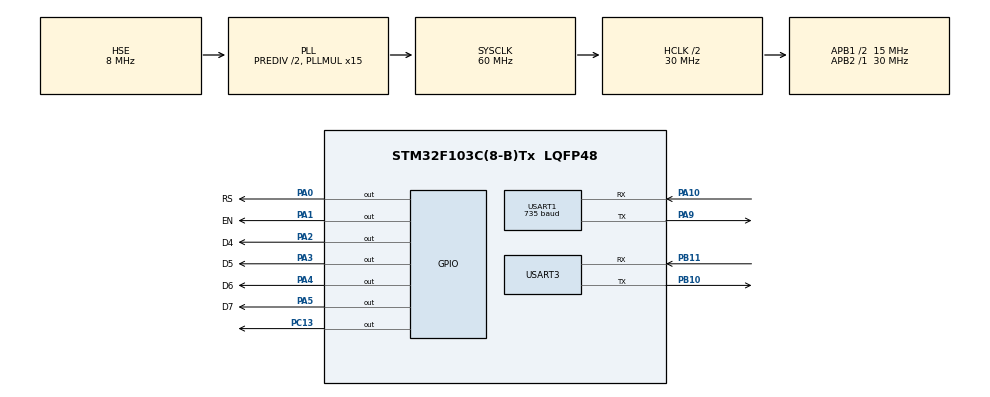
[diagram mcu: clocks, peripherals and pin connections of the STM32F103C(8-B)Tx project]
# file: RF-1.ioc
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Dma.Request0=USART1_RX
Dma.USART1_RX.0.Direction=DMA_PERIPH_TO_MEMORY
Dma.USART1_RX.0.Instance=DMA1_Channel5
Dma.USART1_RX.0.MemDataAlignment=DMA_MDATAALIGN_BYTE
Dma.USART1_RX.0.MemInc=DMA_MINC_ENABLE
Dma.USART1_RX.0.Mode=DMA_CIRCULAR
Dma.USART1_RX.0.PeriphDataAlignment=DMA_PDATAALIGN_BYTE
Dma.USART1_RX.0.PeriphInc=DMA_PINC_DISABLE
Dma.USART1_RX.0.Priority=DMA_PRIORITY_HIGH
FREERTOS.Tasks01=defaultTask,0,128,StartDefaultTask,Default,NULL,Dynamic,NULL,NULL;Task1,2,128,StartTask02,Default,NULL,Dynamic,NULL,NULL;Task2,1,128,StartTask03,Default,NULL,Dynamic,NULL,NULL
Mcu.Family=STM32F1
Mcu.Name=STM32F103C(8-B)Tx
Mcu.Package=LQFP48
NVIC.DMA1_Channel5_IRQn=true\:5\:0\:false\:false\:true\:true\:false
NVIC.PriorityGroup=NVIC_PRIORITYGROUP_4
NVIC.TIM4_IRQn=true\:0\:0\:false\:false\:true\:false\:false
NVIC.TimeBase=TIM4_IRQn
NVIC.TimeBaseIP=TIM4
PA0-WKUP.GPIO_Label=RS
PA0-WKUP.GPIO_Speed=GPIO_SPEED_FREQ_MEDIUM
PA0-WKUP.Signal=GPIO_Output
PA1.GPIO_Label=EN
PA1.GPIO_Speed=GPIO_SPEED_FREQ_MEDIUM
PA1.Signal=GPIO_Output
PA10.Mode=Asynchronous
PA10.Signal=USART1_RX
PA13.Mode=Serial_Wire
PA13.Signal=SYS_JTMS-SWDIO
PA14.Mode=Serial_Wire
PA14.Signal=SYS_JTCK-SWCLK
PA2.GPIO_Label=D4
PA2.GPIO_Speed=GPIO_SPEED_FREQ_MEDIUM
PA2.Signal=GPIO_Output
PA3.GPIO_Label=D5
PA3.GPIO_Speed=GPIO_SPEED_FREQ_MEDIUM
PA3.Signal=GPIO_Output
PA4.GPIO_Label=D6
PA4.GPIO_Speed=GPIO_SPEED_FREQ_MEDIUM
PA4.Signal=GPIO_Output
PA5.GPIO_Label=D7
PA5.GPIO_Speed=GPIO_SPEED_FREQ_MEDIUM
PA5.Signal=GPIO_Output
PA9.Mode=Asynchronous
PA9.Signal=USART1_TX
PB10.Mode=Asynchronous
PB10.Signal=USART3_TX
PB11.Mode=Asynchronous
PB11.Signal=USART3_RX
PC13-TAMPER-RTC.GPIO_Speed=GPIO_SPEED_FREQ_LOW
PC13-TAMPER-RTC.Signal=GPIO_Output
PD0-OSC_IN.Mode=HSE-External-Oscillator
PD0-OSC_IN.Signal=RCC_OSC_IN
PD1-OSC_OUT.Mode=HSE-External-Oscillator
PD1-OSC_OUT.Signal=RCC_OSC_OUT
ProjectManager.HeapSize=0x200
ProjectManager.StackSize=0x400
ProjectManager.TargetToolchain=MDK-ARM V5
RCC.AHBCLKDivider=RCC_SYSCLK_DIV2
RCC.AHBFreq_Value=30000000
RCC.APB1CLKDivider=RCC_HCLK_DIV2
RCC.APB1Freq_Value=15000000
RCC.APB1TimFreq_Value=30000000
RCC.APB2Freq_Value=30000000
RCC.APB2TimFreq_Value=30000000
RCC.HCLKFreq_Value=30000000
RCC.HSEDivPLL=RCC_HSE_PREDIV_DIV2
RCC.PLLMUL=RCC_PLL_MUL15
RCC.PLLSourceVirtual=RCC_PLLSOURCE_HSE
RCC.SYSCLKFreq_VALUE=60000000
RCC.SYSCLKSource=RCC_SYSCLKSOURCE_PLLCLK
RCC.USBFreq_Value=60000000
USART1.BaudRate=735
USART1.VirtualMode=VM_ASYNC
USART3.VirtualMode=VM_ASYNC
VP_FREERTOS_VS_ENABLE.Mode=Enabled
VP_SYS_VS_tim4.Mode=TIM4
board=custom

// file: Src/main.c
/**
  ******************************************************************************
  * @file           : main.c
  * @brief          : Main program body
  ******************************************************************************
  * This notice applies to any and all portions of this file
  * that are not between comment pairs USER CODE BEGIN and
  * USER CODE END. Other portions of this file, whether
  * inserted by the user or by software development tools
  * are owned by their respective copyright owners.
  *
  * Copyright (c) 2019 STMicroelectronics International N.V.
  * All rights reserved.
  *
  * Redistribution and use in source and binary forms, with or without
  * modification, are permitted, provided that the following conditions are met:
  *
  * 1. Redistribution of source code must retain the above copyright notice,
  *    this list of conditions and the following disclaimer.
  * 2. Redistributions in binary form must reproduce the above copyright notice,
  *    this list of conditions and the following disclaimer in the documentation
  *    and/or other materials provided with the distribution.
  * 3. Neither the name of STMicroelectronics nor the names of other
  *    contributors to this software may be used to endorse or promote products
  *    derived from this software without specific written permission.
  * 4. This software, including modifications and/or derivative works of this
  *    software, must execute solely and exclusively on microcontroller or
  *    microprocessor devices manufactured by or for STMicroelectronics.
  * 5. Redistribution and use of this software other than as permitted under
  *    this license is void and will automatically terminate your rights under
  *    this license.
  *
  * THIS SOFTWARE IS PROVIDED BY STMICROELECTRONICS AND CONTRIBUTORS "AS IS"
  * AND ANY EXPRESS, IMPLIED OR STATUTORY WARRANTIES, INCLUDING, BUT NOT
  * LIMITED TO, THE IMPLIED WARRANTIES OF MERCHANTABILITY, FITNESS FOR A
  * PARTICULAR PURPOSE AND NON-INFRINGEMENT OF THIRD PARTY INTELLECTUAL PROPERTY
  * RIGHTS ARE DISCLAIMED TO THE FULLEST EXTENT PERMITTED BY LAW. IN NO EVENT
  * SHALL STMICROELECTRONICS OR CONTRIBUTORS BE LIABLE FOR ANY DIRECT, INDIRECT,
  * INCIDENTAL, SPECIAL, EXEMPLARY, OR CONSEQUENTIAL DAMAGES (INCLUDING, BUT NOT
  * LIMITED TO, PROCUREMENT OF SUBSTITUTE GOODS OR SERVICES; LOSS OF USE, DATA,
  * OR PROFITS; OR BUSINESS INTERRUPTION) HOWEVER CAUSED AND ON ANY THEORY OF
  * LIABILITY, WHETHER IN CONTRACT, STRICT LIABILITY, OR TORT (INCLUDING
  * NEGLIGENCE OR OTHERWISE) ARISING IN ANY WAY OUT OF THE USE OF THIS SOFTWARE,
  * EVEN IF ADVISED OF THE POSSIBILITY OF SUCH DAMAGE.
  *
  ******************************************************************************
  */
#include "main.h"
#include "stm32f1xx_hal.h"
#include "cmsis_os.h"

/* USER CODE BEGIN Includes */
#include "string.h"

/* USER CODE END Includes */

UART_HandleTypeDef huart1;
UART_HandleTypeDef huart3;
DMA_HandleTypeDef hdma_usart1_rx;

osThreadId defaultTaskHandle;
osThreadId Task1Handle;
osThreadId Task2Handle;

/* USER CODE BEGIN PV */
/* Private variables ---------------------------------------------------------*/

/* USER CODE END PV */

void SystemClock_Config(void);
static void MX_GPIO_Init(void);
static void MX_DMA_Init(void);
static void MX_USART1_UART_Init(void);
static void MX_USART3_UART_Init(void);
void StartDefaultTask(void const * argument);
void StartTask02(void const * argument);
void StartTask03(void const * argument);

/* USER CODE BEGIN PFP */
/* Private function prototypes -----------------------------------------------*/

/* USER CODE END PFP */

/* USER CODE BEGIN 0 */

uint8_t data[16];
char t_str[30];
int xx =2;

/* USER CODE END 0 */

int main(void)
{

  /* MCU Configuration----------------------------------------------------------*/

  /* Reset of all peripherals, Initializes the Flash interface and the Systick. */
  HAL_Init();

  /* Configure the system clock */
  SystemClock_Config();

  /* Initialize all configured peripherals */
  MX_GPIO_Init();
  MX_DMA_Init();
  MX_USART1_UART_Init();
  MX_USART3_UART_Init();
  /* USER CODE BEGIN 2 */

	HAL_GPIO_WritePin(GPIOC,GPIO_PIN_13,GPIO_PIN_RESET);
		HAL_Delay(1000);
 	HAL_GPIO_WritePin(GPIOC,GPIO_PIN_13,GPIO_PIN_SET);
		HAL_Delay(1000);

HAL_UART_Receive_DMA(&huart1,data,16);

  /* USER CODE END 2 */

  /* Create the thread(s) */
  /* definition and creation of defaultTask */
  osThreadDef(defaultTask, StartDefaultTask, osPriorityNormal, 0, 128);
  defaultTaskHandle = osThreadCreate(osThread(defaultTask), NULL);

  /* definition and creation of Task1 */
  osThreadDef(Task1, StartTask02, osPriorityHigh, 0, 128);
  Task1Handle = osThreadCreate(osThread(Task1), NULL);

  /* definition and creation of Task2 */
  osThreadDef(Task2, StartTask03, osPriorityAboveNormal, 0, 128);
  Task2Handle = osThreadCreate(osThread(Task2), NULL);

  /* Start scheduler */
  osKernelStart();

  /* We should never get here as control is now taken by the scheduler */

  /* Infinite loop */
  while (1)
  {

  }

}

void SystemClock_Config(void)
{

  RCC_OscInitTypeDef RCC_OscInitStruct;
  RCC_ClkInitTypeDef RCC_ClkInitStruct;

    /**Initializes the CPU, AHB and APB busses clocks
    */
  RCC_OscInitStruct.OscillatorType = RCC_OSCILLATORTYPE_HSE;
  RCC_OscInitStruct.HSEState = RCC_HSE_ON;
  RCC_OscInitStruct.HSEPredivValue = RCC_HSE_PREDIV_DIV2;
  RCC_OscInitStruct.HSIState = RCC_HSI_ON;
  RCC_OscInitStruct.PLL.PLLState = RCC_PLL_ON;
  RCC_OscInitStruct.PLL.PLLSource = RCC_PLLSOURCE_HSE;
  RCC_OscInitStruct.PLL.PLLMUL = RCC_PLL_MUL15;
  if (HAL_RCC_OscConfig(&RCC_OscInitStruct) != HAL_OK)
  {
    _Error_Handler(__FILE__, __LINE__);
  }

    /**Initializes the CPU, AHB and APB busses clocks
    */
  RCC_ClkInitStruct.ClockType = RCC_CLOCKTYPE_HCLK|RCC_CLOCKTYPE_SYSCLK
                              |RCC_CLOCKTYPE_PCLK1|RCC_CLOCKTYPE_PCLK2;
  RCC_ClkInitStruct.SYSCLKSource = RCC_SYSCLKSOURCE_PLLCLK;
  RCC_ClkInitStruct.AHBCLKDivider = RCC_SYSCLK_DIV2;
  RCC_ClkInitStruct.APB1CLKDivider = RCC_HCLK_DIV2;
  RCC_ClkInitStruct.APB2CLKDivider = RCC_HCLK_DIV1;

  if (HAL_RCC_ClockConfig(&RCC_ClkInitStruct, FLASH_LATENCY_2) != HAL_OK)
  {
    _Error_Handler(__FILE__, __LINE__);
  }

    /**Configure the Systick interrupt time
    */
  HAL_SYSTICK_Config(HAL_RCC_GetHCLKFreq()/1000);

    /**Configure the Systick
    */
  HAL_SYSTICK_CLKSourceConfig(SYSTICK_CLKSOURCE_HCLK);

  /* SysTick_IRQn interrupt configuration */
  HAL_NVIC_SetPriority(SysTick_IRQn, 15, 0);
}

/* USART1 init function */
static void MX_USART1_UART_Init(void)
{

  huart1.Instance = USART1;
  huart1.Init.BaudRate = 660;
  huart1.Init.WordLength = UART_WORDLENGTH_8B;
  huart1.Init.StopBits = UART_STOPBITS_1;
  huart1.Init.Parity = UART_PARITY_NONE;
  huart1.Init.Mode = UART_MODE_TX_RX;
  huart1.Init.HwFlowCtl = UART_HWCONTROL_NONE;
  huart1.Init.OverSampling = UART_OVERSAMPLING_16;
  if (HAL_UART_Init(&huart1) != HAL_OK)
  {
    _Error_Handler(__FILE__, __LINE__);
  }

}

/* USART3 init function */
static void MX_USART3_UART_Init(void)
{

  huart3.Instance = USART3;
  huart3.Init.BaudRate = 115200;
  huart3.Init.WordLength = UART_WORDLENGTH_8B;
  huart3.Init.StopBits = UART_STOPBITS_1;
  huart3.Init.Parity = UART_PARITY_NONE;
  huart3.Init.Mode = UART_MODE_TX_RX;
  huart3.Init.HwFlowCtl = UART_HWCONTROL_NONE;
  huart3.Init.OverSampling = UART_OVERSAMPLING_16;
  if (HAL_UART_Init(&huart3) != HAL_OK)
  {
    _Error_Handler(__FILE__, __LINE__);
  }

}

static void MX_DMA_Init(void)
{
  /* DMA controller clock enable */
  __HAL_RCC_DMA1_CLK_ENABLE();

  /* DMA interrupt init */
  /* DMA1_Channel5_IRQn interrupt configuration */
  HAL_NVIC_SetPriority(DMA1_Channel5_IRQn, 5, 0);
  HAL_NVIC_EnableIRQ(DMA1_Channel5_IRQn);

}

/** Configure pins as
        * Analog
        * Input
        * Output
        * EVENT_OUT
        * EXTI
*/
static void MX_GPIO_Init(void)
{

  GPIO_InitTypeDef GPIO_InitStruct;

  /* GPIO Ports Clock Enable */
  __HAL_RCC_GPIOC_CLK_ENABLE();
  __HAL_RCC_GPIOD_CLK_ENABLE();
  __HAL_RCC_GPIOA_CLK_ENABLE();
  __HAL_RCC_GPIOB_CLK_ENABLE();

  /*Configure GPIO pin Output Level */
  HAL_GPIO_WritePin(GPIOC, GPIO_PIN_13, GPIO_PIN_RESET);

  /*Configure GPIO pin Output Level */
  HAL_GPIO_WritePin(GPIOA, RS_Pin|EN_Pin|D4_Pin|D5_Pin
                          |D6_Pin|D7_Pin, GPIO_PIN_RESET);

  /*Configure GPIO pin : PC13 */
  GPIO_InitStruct.Pin = GPIO_PIN_13;
  GPIO_InitStruct.Mode = GPIO_MODE_OUTPUT_PP;
  GPIO_InitStruct.Pull = GPIO_NOPULL;
  GPIO_InitStruct.Speed = GPIO_SPEED_FREQ_LOW;
  HAL_GPIO_Init(GPIOC, &GPIO_InitStruct);

  /*Configure GPIO pins : RS_Pin EN_Pin D4_Pin D5_Pin
                           D6_Pin D7_Pin */
  GPIO_InitStruct.Pin = RS_Pin|EN_Pin|D4_Pin|D5_Pin
                          |D6_Pin|D7_Pin;
  GPIO_InitStruct.Mode = GPIO_MODE_OUTPUT_PP;
  GPIO_InitStruct.Pull = GPIO_NOPULL;
  GPIO_InitStruct.Speed = GPIO_SPEED_FREQ_MEDIUM;
  HAL_GPIO_Init(GPIOA, &GPIO_InitStruct);

}

/* USER CODE BEGIN 4 */
uint8_t	databuf[16];
char	databuf_str[16];

uint8_t	a=0;
uint8_t	b=0;

void HAL_UART_RxCpltCallback(UART_HandleTypeDef *huart)
{
	for(int i=0;i<16;i++)
		databuf[i]=data[i];
		a=1;
}

/* USER CODE END 4 */

void StartDefaultTask(void const * argument)
{

  /* USER CODE BEGIN 5 */
  /* Infinite loop */
  for(;;)
  {
		switch (xx){
	case 0:
		HAL_GPIO_WritePin(GPIOC,GPIO_PIN_13,GPIO_PIN_SET);
	break;
	case 1:
		HAL_GPIO_WritePin(GPIOC,GPIO_PIN_13,GPIO_PIN_RESET);
	break;
	default:
	break;
}
    osDelay(100);

  }
  /* USER CODE END 5 */
}

void StartTask02(void const * argument)
{
  /* USER CODE BEGIN StartTask02 */

  /* Infinite loop */
  for(;;)
  {
		if(a==1){
	for(int i=0;i<16;i++){
	sprintf(t_str, "%x-",databuf[i]);
	HAL_UART_Transmit(&huart3,(unsigned char*)t_str,16,50);
	}
	sprintf(t_str, "\n");
	HAL_UART_Transmit(&huart3,(unsigned char*)t_str,16,50);
	a=0;
	b=0;
	}
	  osDelay(1);
  }
  /* USER CODE END StartTask02 */
}

void StartTask03(void const * argument)
{
  /* USER CODE BEGIN StartTask03 */

  //e7-21-0-31-e5-21-0-31 -->A
	//e7-a1-1-31-e5-a1-1-31 -->B
	//e7-61-1-31-e5-61-1-31 -->C
	//e7-31-1-31-e5-31-1-31 -->D
	//	____________________
	//dataSearch[4] >> e7-31-1-31

	/* Infinite loop */
  for(;;)
  {
		if(b==1){
			sprintf(t_str, "mm");
			HAL_UART_Transmit(&huart3,(unsigned char*)t_str,16,10);

			for(int i=0;i<13;i++)	{
				if(databuf[i]==0xe5){
					xx=0;
			sprintf(t_str, "nn");
			HAL_UART_Transmit(&huart3,(unsigned char*)t_str,16,10);
				}
//
//				}
//				if((databuf[i]==0xe7)&&(databuf[i+1]==0xa1)&&(databuf[i+2]==0x01)&&(databuf_str[i+3]==0x31)){
//					xx=1;
//			sprintf(t_str, "off");
//			HAL_UART_Transmit(&huart3,(unsigned char*)t_str,16,50);
//
//				}
			}
			b=0;
		}
		osDelay(10);
  }
  /* USER CODE END StartTask03 */
}

void HAL_TIM_PeriodElapsedCallback(TIM_HandleTypeDef *htim)
{
  if (htim->Instance == TIM4) {
    HAL_IncTick();
  }
}

void _Error_Handler(char *file, int line)
{
  while(1)
  {
  }
}

/************************ (C) COPYRIGHT STMicroelectronics *****END OF FILE****/
